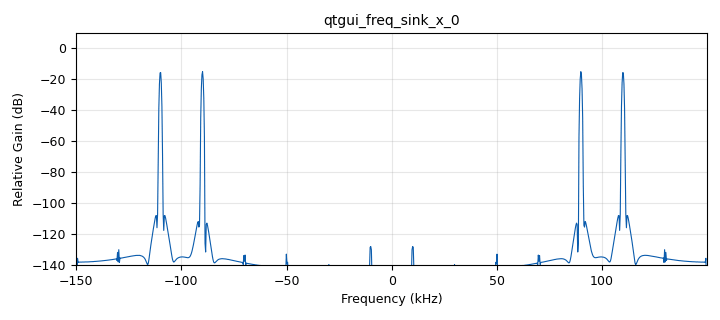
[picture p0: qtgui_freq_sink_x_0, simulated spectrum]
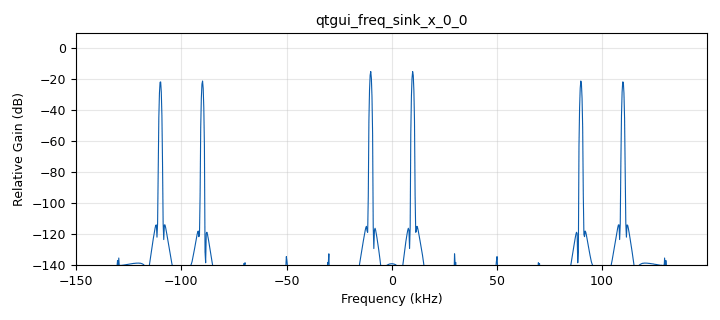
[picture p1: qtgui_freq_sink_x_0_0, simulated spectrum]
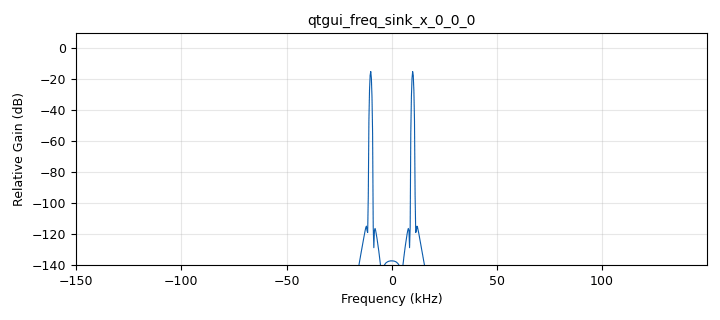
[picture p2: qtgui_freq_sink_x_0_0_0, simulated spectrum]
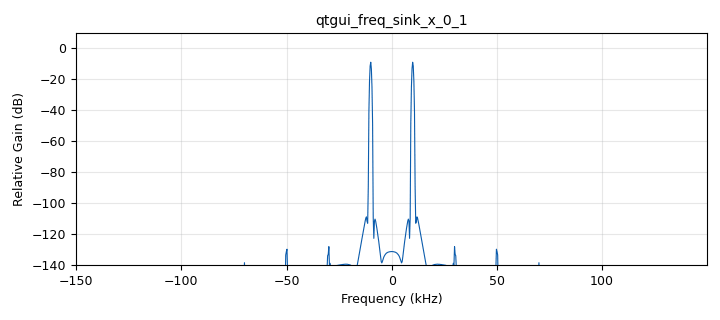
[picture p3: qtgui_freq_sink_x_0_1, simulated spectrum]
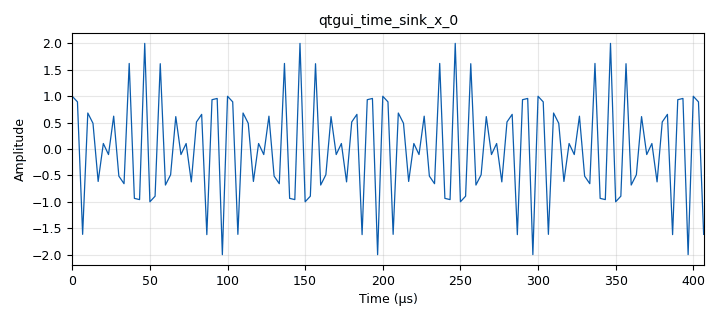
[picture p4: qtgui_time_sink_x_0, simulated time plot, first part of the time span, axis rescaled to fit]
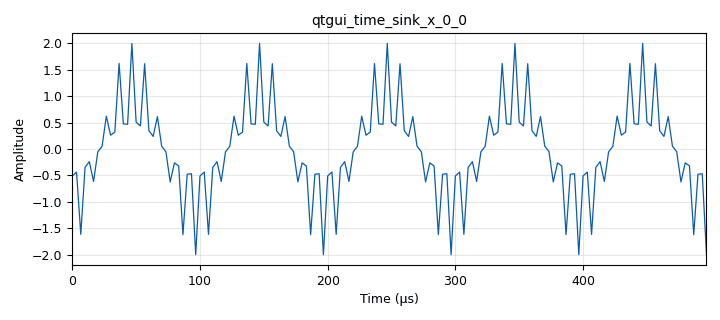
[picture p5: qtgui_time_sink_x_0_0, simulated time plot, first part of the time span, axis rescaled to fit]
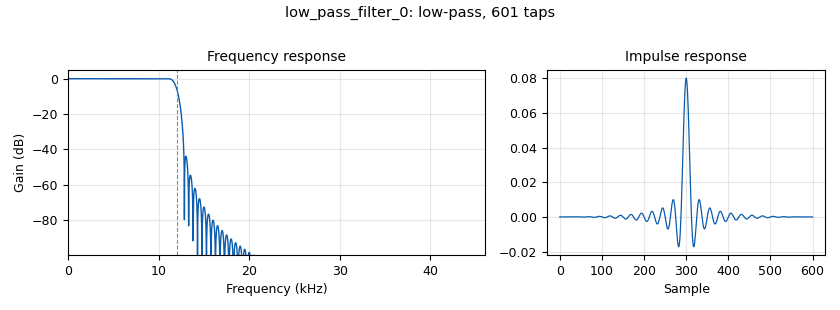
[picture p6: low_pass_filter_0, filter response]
options:
  parameters:
    author: Aman
    generate_options: qt_gui
    id: task2_
    output_language: python
    title: Not titled yet
  states: {}

blocks:
- name: coeff
  id: variable_qtgui_range
  parameters:
    orient: Qt.Horizontal
    start: '0'
    step: '0.001'
    stop: '0.5'
    value: '0.15'
  states: {}
- name: samp_rate
  id: variable
  parameters:
    value: '300000'
  states: {}
- name: analog_sig_source_x_0
  id: analog_sig_source_x
  parameters:
    amp: '2'
    freq: '10000'
    offset: '0'
    phase: '0'
    samp_rate: samp_rate
    type: float
    waveform: analog.GR_COS_WAVE
  states: {}
- name: analog_sig_source_x_1
  id: analog_sig_source_x
  parameters:
    amp: '1'
    freq: '100000'
    offset: '0'
    phase: '0'
    samp_rate: samp_rate
    type: float
    waveform: analog.GR_COS_WAVE
  states: {}
- name: blocks_multiply_xx_0
  id: blocks_multiply_xx
  parameters:
    type: float
  states: {}
- name: blocks_multiply_xx_1
  id: blocks_multiply_xx
  parameters:
    type: float
  states: {}
- name: blocks_wavfile_source_0
  id: blocks_wavfile_source
  parameters:
    file: C:\Users\Acer\OneDrive\Sem5\EE 240\Lab2\Submission\vocal.wav
    repeat: 'True'
  states: {state: disabled}
- name: low_pass_filter_0
  id: low_pass_filter
  parameters:
    cutoff_freq: '12000'
    gain: '1'
    interp: '1'
    samp_rate: samp_rate
    type: interp_fir_filter_fff
    width: '1000'
    win: firdes.WIN_HANN
  states: {}
- name: mmse_resampler_xx_0
  id: mmse_resampler_xx
  parameters:
    phase_shift: '0'
    resamp_ratio: '0.10667'
    type: float
  states: {state: disabled}
- name: qtgui_freq_sink_x_0
  id: qtgui_freq_sink_x
  parameters:
    bw: samp_rate
    fc: '0'
    fftsize: '1024'
    gui_hint: tab@1
    type: float
    wintype: firdes.WIN_BLACKMAN_hARRIS
  states: {}
- name: qtgui_freq_sink_x_0_0
  id: qtgui_freq_sink_x
  parameters:
    bw: samp_rate
    fc: '0'
    fftsize: '1024'
    gui_hint: tab@2
    type: float
    wintype: firdes.WIN_BLACKMAN_hARRIS
  states: {}
- name: qtgui_freq_sink_x_0_0_0
  id: qtgui_freq_sink_x
  parameters:
    bw: samp_rate
    fc: '0'
    fftsize: '1024'
    gui_hint: tab@3
    type: float
    wintype: firdes.WIN_BLACKMAN_hARRIS
  states: {}
- name: qtgui_freq_sink_x_0_1
  id: qtgui_freq_sink_x
  parameters:
    bw: samp_rate
    fc: '0'
    fftsize: '1024'
    gui_hint: tab@0
    type: float
    wintype: firdes.WIN_BLACKMAN_hARRIS
  states: {}
- name: qtgui_time_sink_x_0
  id: qtgui_time_sink_x
  parameters:
    gui_hint: tab@1
    size: '1024'
    srate: samp_rate
    type: float
  states: {}
- name: qtgui_time_sink_x_0_0
  id: qtgui_time_sink_x
  parameters:
    gui_hint: tab@2
    size: '1024'
    srate: samp_rate
    type: float
  states: {}
- name: qtgui_time_sink_x_0_0_0
  id: qtgui_time_sink_x
  parameters:
    gui_hint: tab@3
    size: '1024'
    srate: samp_rate
    type: float
  states: {}
- name: qtgui_time_sink_x_0_1
  id: qtgui_time_sink_x
  parameters:
    gui_hint: tab@0
    size: '1024'
    srate: samp_rate
    type: float
  states: {}
- name: tab
  id: qtgui_tab_widget
  parameters:
    label0: input
    label1: modulated
    label2: mul_by_cos
    label3: demodulated
    num_tabs: '4'
  states: {}

connections:
- [analog_sig_source_x_0, '0', blocks_multiply_xx_0, '0']
- [analog_sig_source_x_0, '0', qtgui_freq_sink_x_0_1, '0']
- [analog_sig_source_x_0, '0', qtgui_time_sink_x_0_1, '0']
- [analog_sig_source_x_1, '0', blocks_multiply_xx_0, '1']
- [analog_sig_source_x_1, '0', blocks_multiply_xx_1, '1']
- [blocks_multiply_xx_0, '0', blocks_multiply_xx_1, '0']
- [blocks_multiply_xx_0, '0', qtgui_freq_sink_x_0, '0']
- [blocks_multiply_xx_0, '0', qtgui_time_sink_x_0, '0']
- [blocks_multiply_xx_1, '0', low_pass_filter_0, '0']
- [blocks_multiply_xx_1, '0', qtgui_freq_sink_x_0_0, '0']
- [blocks_multiply_xx_1, '0', qtgui_time_sink_x_0_0, '0']
- [blocks_wavfile_source_0, '0', mmse_resampler_xx_0, '0']
- [low_pass_filter_0, '0', qtgui_freq_sink_x_0_0_0, '0']
- [low_pass_filter_0, '0', qtgui_time_sink_x_0_0_0, '0']

metadata:
  file_format: 1
